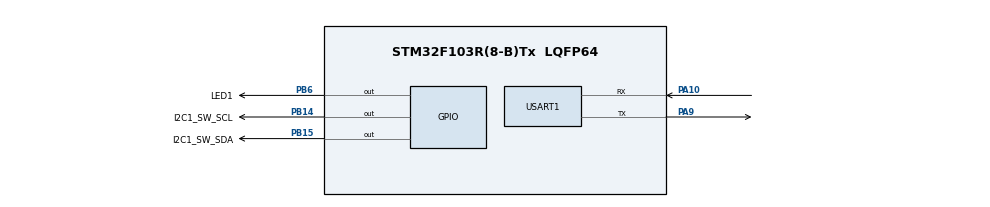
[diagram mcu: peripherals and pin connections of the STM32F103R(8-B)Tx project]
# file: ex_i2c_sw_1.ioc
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Mcu.Family=STM32F1
Mcu.Name=STM32F103R(8-B)Tx
Mcu.Package=LQFP64
NVIC.PriorityGroup=NVIC_PRIORITYGROUP_4
PA10.Mode=Asynchronous
PA10.Signal=USART1_RX
PA13.Mode=Serial_Wire
PA13.Signal=SYS_JTMS-SWDIO
PA14.Mode=Serial_Wire
PA14.Signal=SYS_JTCK-SWCLK
PA9.Mode=Asynchronous
PA9.Signal=USART1_TX
PB14.GPIO_Label=I2C1_SW_SCL
PB14.Signal=GPIO_Output
PB15.GPIO_Label=I2C1_SW_SDA
PB15.Signal=GPIO_Output
PB6.GPIO_Label=LED1
PB6.Signal=GPIO_Output
ProjectManager.HeapSize=0x200
ProjectManager.StackSize=0x400
ProjectManager.TargetToolchain=TrueSTUDIO
RCC.APB1Freq_Value=8000000
RCC.APB2Freq_Value=8000000
USART1.VirtualMode=VM_ASYNC
board=custom

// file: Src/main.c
/* USER CODE BEGIN Header */
/**
  ******************************************************************************
  * @file           : main.c
  * @brief          : Main program body
  ******************************************************************************
  * @attention
  *
  * <h2><center>&copy; Copyright (c) 2020 STMicroelectronics.
  * All rights reserved.</center></h2>
  *
  * This software component is licensed by ST under BSD 3-Clause license,
  * the "License"; You may not use this file except in compliance with the
  * License. You may obtain a copy of the License at:
  *                        opensource.org/licenses/BSD-3-Clause
  *
  ******************************************************************************
  */
/* USER CODE END Header */

#include "main.h"
#include "usart.h"
#include "gpio.h"

/* USER CODE BEGIN Includes */
#include <string.h>
#include "i2c.h"
/* USER CODE END Includes */

void SystemClock_Config(void);

int main(void)
{
  /* USER CODE BEGIN 1 */
    uint8_t OLED_buffer[1024];
    uint8_t i, j;

    memset(OLED_buffer, 0xF0, sizeof(OLED_buffer));
  /* USER CODE END 1 */

  /* MCU Configuration--------------------------------------------------------*/

  /* Reset of all peripherals, Initializes the Flash interface and the Systick. */
  HAL_Init();

  /* Configure the system clock */
  SystemClock_Config();

  /* Initialize all configured peripherals */
  MX_GPIO_Init();
  MX_USART1_UART_Init();
  /* USER CODE BEGIN 2 */
    HAL_Delay(200);

  /************** Initialize SH1106 *****************/
    OLED_WR_Byte(0xAE,OLED_CMD);    /* display off */
    OLED_WR_Byte(0x02,OLED_CMD);    /*set lower column address*/
    OLED_WR_Byte(0x10,OLED_CMD);    /*set higher column address*/
    OLED_WR_Byte(0x40,OLED_CMD);    /*set display start line*/
    OLED_WR_Byte(0xB0,OLED_CMD);    /*set page address*/
    OLED_WR_Byte(0x81,OLED_CMD);    /*contract control*/
    OLED_WR_Byte(0xFF,OLED_CMD);    /*128*/
    OLED_WR_Byte(0xA1,OLED_CMD);    /*set segment remap*/
    OLED_WR_Byte(0xA6,OLED_CMD);    /*normal / reverse*/
    OLED_WR_Byte(0xA8,OLED_CMD);    /*multiplex ratio*/
    OLED_WR_Byte(0x3F,OLED_CMD);    /*duty = 1/64*/
    OLED_WR_Byte(0xAD,OLED_CMD);    /*set charge pump enable*/
    OLED_WR_Byte(0x8B,OLED_CMD);    /*    0x8B    内供VCC   */
    OLED_WR_Byte(0x32,OLED_CMD);    /*0X30---0X33  set VPP   8V */
    OLED_WR_Byte(0xC8,OLED_CMD);    /*Com scan direction*/
    OLED_WR_Byte(0xD3,OLED_CMD);    /*set display offset*/
    OLED_WR_Byte(0x00,OLED_CMD);    /*   0x20  */
    OLED_WR_Byte(0xD5,OLED_CMD);    /*set osc division*/
    OLED_WR_Byte(0x80,OLED_CMD);
    OLED_WR_Byte(0xD9,OLED_CMD);    /*set pre-charge period*/
    OLED_WR_Byte(0x1F,OLED_CMD);    /*0x22*/
    OLED_WR_Byte(0xDA,OLED_CMD);    /*set COM pins*/
    OLED_WR_Byte(0x12,OLED_CMD);
    OLED_WR_Byte(0xDB,OLED_CMD);    /*set vcomh*/
    OLED_WR_Byte(0x40,OLED_CMD);
    OLED_WR_Byte(0xAF,OLED_CMD);    /*display ON*/

    for(i = 0; i < 8; i++)
    {
        OLED_WR_Byte(0xB0+i, OLED_CMD);
        OLED_WR_Byte(0x02, OLED_CMD);
        OLED_WR_Byte(0x10, OLED_CMD);
        for(j=0; j<128; j++)
        {
             OLED_WR_Byte(OLED_buffer[i*128+j], OLED_DATA);
        }
    }

  /* USER CODE END 2 */

  /* Infinite loop */
  /* USER CODE BEGIN WHILE */
  while (1)
  {
      HAL_GPIO_WritePin(LED1_GPIO_Port, LED1_Pin, GPIO_PIN_SET);    // check for run
      OLED_Display_off();
      HAL_Delay(1000);
      HAL_GPIO_WritePin(LED1_GPIO_Port, LED1_Pin, GPIO_PIN_RESET);
      OLED_Display_on();
      HAL_Delay(1000);
    /* USER CODE END WHILE */

  }
}

void SystemClock_Config(void)
{
  RCC_OscInitTypeDef RCC_OscInitStruct = {0};
  RCC_ClkInitTypeDef RCC_ClkInitStruct = {0};

  /** Initializes the CPU, AHB and APB busses clocks
  */
  RCC_OscInitStruct.OscillatorType = RCC_OSCILLATORTYPE_HSI;
  RCC_OscInitStruct.HSIState = RCC_HSI_ON;
  RCC_OscInitStruct.HSICalibrationValue = RCC_HSICALIBRATION_DEFAULT;
  RCC_OscInitStruct.PLL.PLLState = RCC_PLL_NONE;
  if (HAL_RCC_OscConfig(&RCC_OscInitStruct) != HAL_OK)
  {
    Error_Handler();
  }
  /** Initializes the CPU, AHB and APB busses clocks
  */
  RCC_ClkInitStruct.ClockType = RCC_CLOCKTYPE_HCLK|RCC_CLOCKTYPE_SYSCLK
                              |RCC_CLOCKTYPE_PCLK1|RCC_CLOCKTYPE_PCLK2;
  RCC_ClkInitStruct.SYSCLKSource = RCC_SYSCLKSOURCE_HSI;
  RCC_ClkInitStruct.AHBCLKDivider = RCC_SYSCLK_DIV1;
  RCC_ClkInitStruct.APB1CLKDivider = RCC_HCLK_DIV1;
  RCC_ClkInitStruct.APB2CLKDivider = RCC_HCLK_DIV1;

  if (HAL_RCC_ClockConfig(&RCC_ClkInitStruct, FLASH_LATENCY_0) != HAL_OK)
  {
    Error_Handler();
  }
}

void Error_Handler(void)
{
}

/************************ (C) COPYRIGHT STMicroelectronics *****END OF FILE****/
